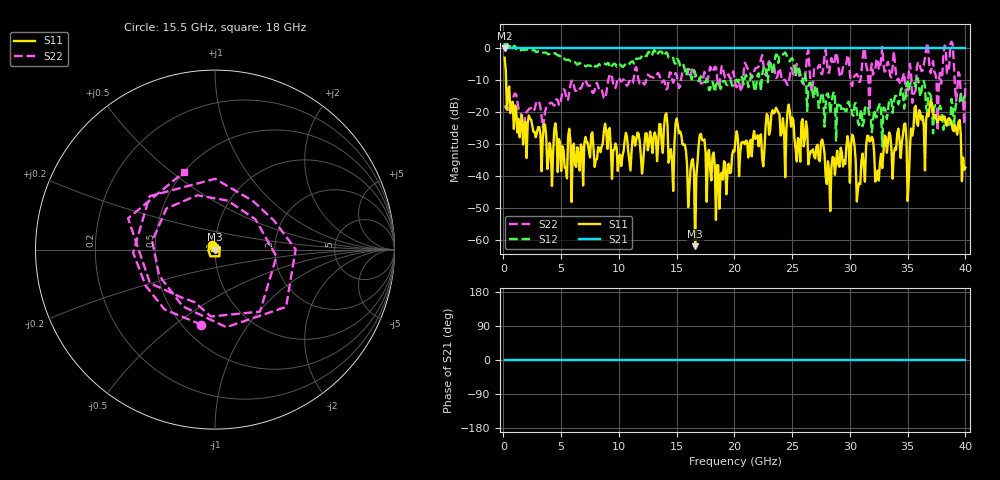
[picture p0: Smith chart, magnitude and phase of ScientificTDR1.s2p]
# MHz MA S R 50.0
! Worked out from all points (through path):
!   400 points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, 100 MHz to 40 GHz, reference 50 ohm
!   highest |S21| = 0.00 dB at 100 MHz (marker M1); lowest = 0.0 dB at 100 MHz (marker M2)
!   lowest |S11| = -62.0 dB at 16.6 GHz (marker M3), VSWR 1.00, Z = 50.1 + j0.0124 ohm
!   |S11| at or under -10 dB: 225.5 MHz to end of sweep
!   |S22| runs from -25.9 to 2.1 dB; largest |S21 - S12| = 2
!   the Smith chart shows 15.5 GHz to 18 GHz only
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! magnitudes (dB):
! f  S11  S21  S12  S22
! 100 MHz  -3.0  0.0  -0.7  -17.9
! 2 GHz  -34.3  0.0  -0.3  -20.0
! 6.8 GHz  -31.1  0.0  -5.3  -11.9
! 13.4 GHz  -30.0  0.0  -1.4  -7.7
! 16.4 GHz  -34.7  0.0  -8.3  -5.9
! 16.6 GHz  -62.0  0.0  -7.6  -8.8
! 17 GHz  -27.1  0.0  -9.5  -9.9
! 17.6 GHz  -48.1  0.0  -9.8  -10.1
! 18.2 GHz  -32.6  0.0  -11.9  -6.9
! 18.4 GHz  -53.8  0.0  -11.4  -5.9
! 20.1 GHz  -28.4  0.0  -10.0  -11.7
! 26.7 GHz  -32.5  0.0  -11.7  -13.8
! 28.3 GHz  -51.0  0.0  -20.5  -5.0
! 33.4 GHz  -26.4  0.0  -15.9  -6.2
! 34.8 GHz  -23.5  0.0  -16.1  -12.2
! 35 GHz  -47.8  0.0  -10.5  -13.6
! 35.7 GHz  -18.0  0.0  -12.2  -13.1
! 36.5 GHz  -38.2  0.0  -12.0  -3.0
! 37 GHz  -16.3  0.0  -14.7  -7.8
! 37.6 GHz  -23.3  0.0  -18.8  -25.9
! 38.2 GHz  -21.5  0.0  -22.3  0.8
! 40 GHz  -37.4  0.0  -15.0  -11.0
